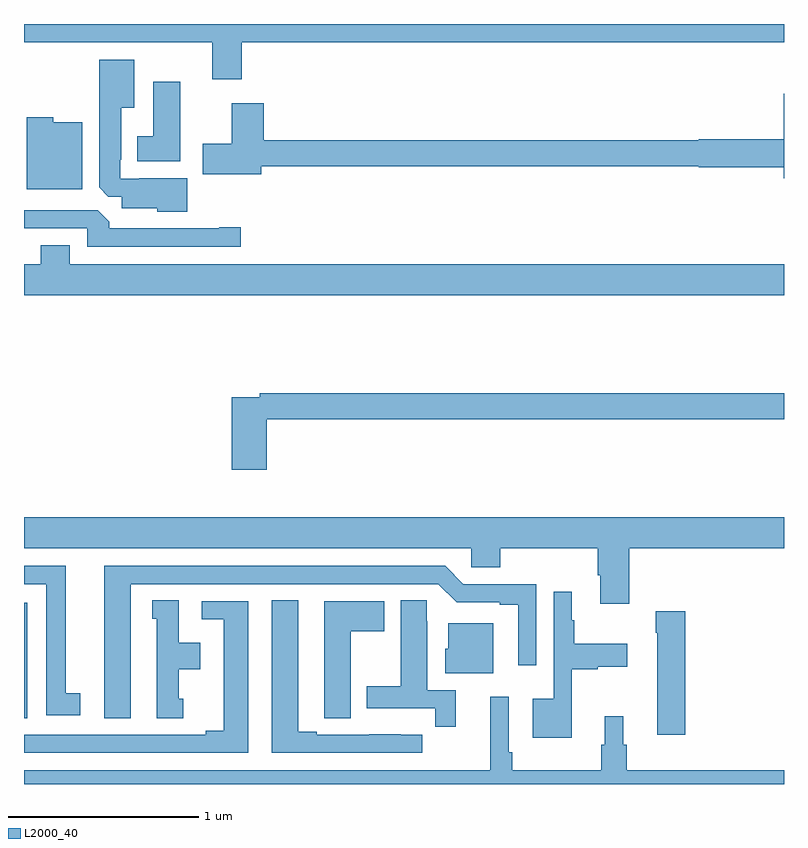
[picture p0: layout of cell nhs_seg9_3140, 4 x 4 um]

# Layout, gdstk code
import gdstk
lib = gdstk.Library(unit=1e-6, precision=1e-09)
def R(c, l, rs):  # rectangles x0, y0, x1, y1
    for r in rs: c.add(gdstk.rectangle(r[:2], r[2:], *l))
def P(c, l, *ps):  # polygons
    for p in ps: c.add(gdstk.Polygon(p, *l))
L2000_40 = (2000, 40)

nhs_seg9_3140 = lib.new_cell('nhs_seg9_3140')
R(nhs_seg9_3140, L2000_40, [(291,1208.845,291.016,1209.453)])
P(nhs_seg9_3140, L2000_40, [(292.145,1212.404),(295,1212.404),(295,1212.5),(291,1212.5),(291,1212.404),(291.992,1212.404),(291.992,1212.21),(292.145,1212.21)],
  [(291.859,1211.689),(291.607,1211.689),(291.607,1211.685),(291.507,1211.685),(291.507,1211.785),(291.511,1211.785),(291.511,1212.059),(291.58,1212.059),(291.58,1212.313),(291.395,1212.313),(291.395,1211.641),(291.444,1211.592),(291.515,1211.592),(291.515,1211.531),(291.702,1211.531),(291.702,1211.513),(291.859,1211.513)],
  [(291.823,1212.196),(291.68,1212.196),(291.68,1211.908),(291.596,1211.908),(291.596,1211.777),(291.823,1211.777)],
  [(295,1212.132),(294.998,1212.132),(294.998,1211.894),(294.552,1211.894),(294.552,1211.888),(292.262,1211.888),(292.262,1212.082),(292.094,1212.082),(292.094,1211.871),(291.942,1211.871),(291.942,1211.708),(292.249,1211.708),(292.249,1211.752),(294.552,1211.752),(294.552,1211.747),(294.998,1211.747),(294.998,1211.688),(295,1211.688)],
  [(291.307,1211.983),(291.153,1211.983),(291.153,1212.01),(291.014,1212.01),(291.014,1211.63),(291.307,1211.63)],
  [(292.141,1211.429),(292.028,1211.429),(292.028,1211.424),(291.449,1211.424),(291.449,1211.458),(291.387,1211.52),(291,1211.52),(291,1211.424),(291.333,1211.424),(291.333,1211.328),(292.141,1211.328)],
  [(295,1211.236),(291.241,1211.236),(291.241,1211.335),(291.089,1211.335),(291.089,1211.236),(291,1211.236),(291,1211.072),(295,1211.072)],
  [(292.277,1210.42),(295,1210.42),(295,1210.556),(292.24,1210.556),(292.24,1210.536),(292.094,1210.536),(292.094,1210.155),(292.277,1210.155)],
  [(294.185,1209.74),(295,1209.74),(295,1209.904),(291,1209.904),(291,1209.74),(293.355,1209.74),(293.355,1209.642),(293.507,1209.642),(293.507,1209.74),(294.02,1209.74),(294.02,1209.598),(294.032,1209.598),(294.032,1209.45),(294.185,1209.45)],
  [(291.295,1208.978),(291.22,1208.978),(291.22,1209.648),(291,1209.648),(291,1209.552),(291.116,1209.552),(291.116,1208.862),(291.295,1208.862)],
  [(291.562,1209.552),(293.181,1209.552),(293.277,1209.456),(293.504,1209.456),(293.504,1209.444),(293.6,1209.444),(293.6,1209.126),(293.697,1209.126),(293.697,1209.552),(293.313,1209.552),(293.217,1209.648),(291.422,1209.648),(291.422,1208.847),(291.562,1208.847)],
  [(293.884,1209.104),(294.021,1209.104),(294.021,1209.116),(294.175,1209.116),(294.175,1209.238),(293.896,1209.238),(293.896,1209.362),(293.884,1209.362),(293.884,1209.511),(293.787,1209.511),(293.787,1208.95),(293.678,1208.95),(293.678,1208.744),(293.884,1208.744)],
  [(291.838,1208.949),(291.814,1208.949),(291.814,1209.104),(291.928,1209.104),(291.928,1209.244),(291.814,1209.244),(291.814,1209.467),(291.674,1209.467),(291.674,1209.369),(291.698,1209.369),(291.698,1208.847),(291.838,1208.847)],
  [(293.095,1208.76),(292.982,1208.76),(292.982,1208.761),(292.816,1208.761),(292.816,1208.76),(292.54,1208.76),(292.54,1208.775),(292.444,1208.775),(292.444,1209.467),(292.304,1209.467),(292.304,1208.664),(293.095,1208.664)],
  [(293.273,1208.994),(293.122,1208.994),(293.122,1209.356),(293.121,1209.356),(293.121,1209.467),(292.982,1209.467),(292.982,1209.015),(292.805,1209.015),(292.805,1208.898),(293.164,1208.898),(293.164,1208.802),(293.273,1208.802)],
  [(292.72,1209.304),(292.897,1209.304),(292.897,1209.463),(292.58,1209.463),(292.58,1208.953),(292.581,1208.953),(292.581,1208.845),(292.72,1208.845)],
  [(292.18,1209.462),(291.936,1209.462),(291.936,1209.366),(292.052,1209.366),(292.052,1208.78),(291.956,1208.78),(291.956,1208.76),(291,1208.76),(291,1208.664),(292.18,1208.664)],
  [(294.479,1209.409),(294.325,1209.409),(294.325,1209.296),(294.332,1209.296),(294.332,1208.76),(294.479,1208.76)],
  [(293.47,1209.346),(293.234,1209.346),(293.234,1209.213),(293.216,1209.213),(293.216,1209.083),(293.47,1209.083)],
  [(295,1208.572),(294.173,1208.572),(294.173,1208.706),(294.154,1208.706),(294.154,1208.857),(294.056,1208.857),(294.056,1208.706),(294.037,1208.706),(294.037,1208.572),(293.57,1208.572),(293.57,1208.668),(293.55,1208.668),(293.55,1208.959),(293.453,1208.959),(293.453,1208.572),(291,1208.572),(291,1208.5),(295,1208.5)])

lib.write_gds('nhs_seg9_3140.gds')
